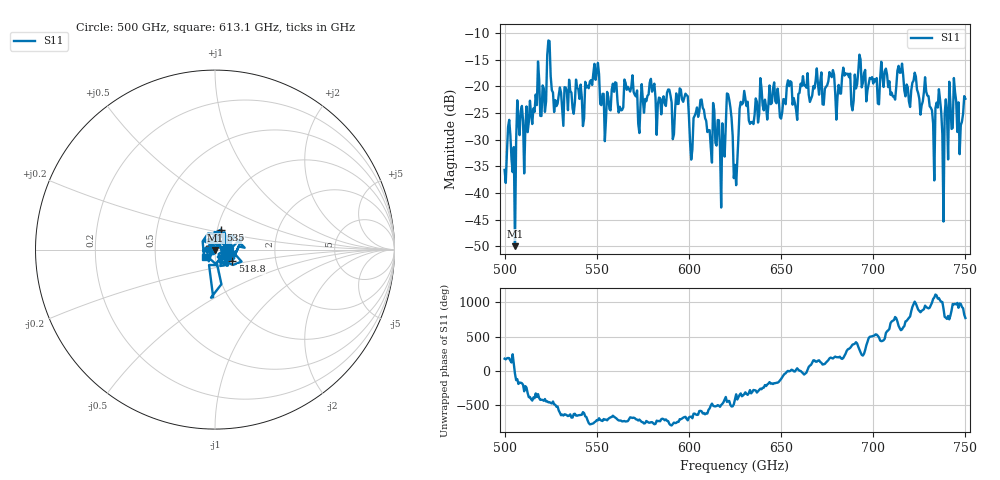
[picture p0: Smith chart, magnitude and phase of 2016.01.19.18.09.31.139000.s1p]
!Created with skrf (http://scikit-rf.org).
# GHz S RI R 50.0
!freq ReS11 ImS11
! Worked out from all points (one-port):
!   401 points, 500 GHz to 750 GHz, reference 50 ohm
!   lowest |S11| = -50.0 dB at 505.6 GHz (marker M1), VSWR 1.01, Z = 50.2 - j0.199 ohm
!   |S11| at or under -10 dB: start of sweep to end of sweep
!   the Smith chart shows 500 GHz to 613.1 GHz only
!   S11 on the Smith chart (normalised r, x): 500 GHz: 0.97, +0.00; 518.8 GHz: 1.20, -0.15; 535 GHz: 1.04, +0.23; 613.1 GHz: 0.89, -0.07
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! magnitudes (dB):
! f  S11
! 500 GHz  -35.7
! 502.5 GHz  -26.3
! 505.6 GHz  -50.0
! 508.1 GHz  -29.2
! 518.8 GHz  -18.7
! 524.4 GHz  -11.5
! 526.9 GHz  -24.8
! 531.2 GHz  -24.3
! 535 GHz  -18.8
! 550 GHz  -17.4
! 553.8 GHz  -21.4
! 562.5 GHz  -23.8
! 593.8 GHz  -23.3
! 613.1 GHz  -23.1
! 618.1 GHz  -26.9
! 621.9 GHz  -22.5
! 625 GHz  -34.7
! 629.4 GHz  -23.1
! 656.2 GHz  -23.4
! 687.5 GHz  -17.6
! 714.4 GHz  -17.5
! 718.8 GHz  -20.2
! 728.8 GHz  -21.0
! 732.5 GHz  -27.0
! 735.6 GHz  -20.5
! 739.4 GHz  -22.4
! 740 GHz  -24.9
! 750 GHz  -22.3
